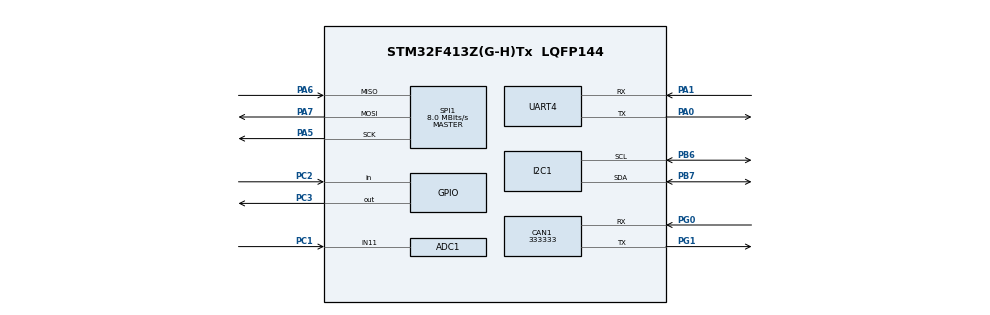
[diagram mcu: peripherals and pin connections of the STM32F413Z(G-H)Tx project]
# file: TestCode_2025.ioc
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ADC1.Channel-0\#ChannelRegularConversion=ADC_CHANNEL_11
ADC1.NbrOfConversionFlag=1
ADC1.Rank-0\#ChannelRegularConversion=1
ADC1.SamplingTime-0\#ChannelRegularConversion=ADC_SAMPLETIME_3CYCLES
ADC1.master=1
CAN1.CalculateBaudRate=333333
CAN1.CalculateTimeBit=3000.00
CAN1.CalculateTimeQuantum=1000.0
Mcu.Family=STM32F4
Mcu.Name=STM32F413Z(G-H)Tx
Mcu.Package=LQFP144
NVIC.PriorityGroup=NVIC_PRIORITYGROUP_4
PA0.Mode=Asynchronous
PA0.Signal=UART4_TX
PA1.Mode=Asynchronous
PA1.Signal=UART4_RX
PA5.Mode=Full_Duplex_Master
PA5.Signal=SPI1_SCK
PA6.Mode=Full_Duplex_Master
PA6.Signal=SPI1_MISO
PA7.Mode=Full_Duplex_Master
PA7.Signal=SPI1_MOSI
PB6.Mode=I2C
PB6.Signal=I2C1_SCL
PB7.Mode=I2C
PB7.Signal=I2C1_SDA
PC1.Signal=ADCx_IN11
PC2.Signal=GPIO_Input
PC3.Signal=GPIO_Output
PG0.Mode=CAN_Activate
PG0.Signal=CAN1_RX
PG1.Mode=CAN_Activate
PG1.Signal=CAN1_TX
ProjectManager.HeapSize=0x200
ProjectManager.StackSize=0x400
ProjectManager.TargetToolchain=EWARM V8.32
RCC.CortexFreq_Value=16000000
RCC.USBFreq_Value=96000000
RCC.VCOOutputFreq_Value=192000000
SH.ADCx_IN11.0=ADC1_IN11,IN11
SPI1.CalculateBaudRate=8.0 MBits/s
SPI1.Direction=SPI_DIRECTION_2LINES
SPI1.Mode=SPI_MODE_MASTER
SPI1.VirtualType=VM_MASTER
UART4.VirtualMode=Asynchronous
board=custom

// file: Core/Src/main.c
/* USER CODE BEGIN Header */
/**
  ******************************************************************************
  * @file           : main.c
  * @brief          : Main program body
  ******************************************************************************
  * @attention
  *
  * <h2><center>&copy; Copyright (c) 2025 STMicroelectronics.
  * All rights reserved.</center></h2>
  *
  * This software component is licensed by ST under BSD 3-Clause license,
  * the "License"; You may not use this file except in compliance with the
  * License. You may obtain a copy of the License at:
  *                        opensource.org/licenses/BSD-3-Clause
  *
  ******************************************************************************
  */
/* USER CODE END Header */
#include "main.h"

/* USER CODE BEGIN PM */
enum Pmic {
  MP5424 = 0,
  TI234,
  NXP5664
};

#define PMICTYPE MP5424

#if (PMICTYPE == MP5424)
    #define SLAVEADDR 0X69
#endif
/* USER CODE END PM */

ADC_HandleTypeDef hadc1;

CAN_HandleTypeDef hcan1;

I2C_HandleTypeDef hi2c1;

SPI_HandleTypeDef hspi1;

UART_HandleTypeDef huart4;

void SystemClock_Config(void);
static void MX_GPIO_Init(void);
static void MX_ADC1_Init(void);
static void MX_CAN1_Init(void);
static void MX_I2C1_Init(void);
static void MX_SPI1_Init(void);
static void MX_UART4_Init(void);

/* USER CODE BEGIN 0 */
uint8_t addr = SLAVEADDR;

/* USER CODE END 0 */

int main(void)
{
  /* USER CODE BEGIN 1 */
    memset(test1,0,sizeof(test1));
  /* USER CODE END 1 */

  /* MCU Configuration--------------------------------------------------------*/

  /* Reset of all peripherals, Initializes the Flash interface and the Systick. */
  HAL_Init();

  /* Configure the system clock */
  SystemClock_Config();

  /* Initialize all configured peripherals */
  MX_GPIO_Init();
  MX_ADC1_Init();
  MX_CAN1_Init();
  MX_I2C1_Init();
  MX_SPI1_Init();
  MX_UART4_Init();

  /* Infinite loop */
  /* USER CODE BEGIN WHILE */
  while (1)
  {
    uint8_t i2c_tx_data;
    uint8_t i2c_tx_addr;
    uint8_t i2c_rx_data;
    uint8_t i2c_rx_addr;

    test1.field.a = 1;
    i2c_tx_data = test1.Pmic_data;
    /* USER CODE END WHILE */
    HAL_I2C_Master_Transmit();
    delay_us(100);
    HAL_I2C_Master_Receive();
    delay_us(100);
  }
}

void SystemClock_Config(void)
{
  RCC_OscInitTypeDef RCC_OscInitStruct = {0};
  RCC_ClkInitTypeDef RCC_ClkInitStruct = {0};

  /** Configure the main internal regulator output voltage
  */
  __HAL_RCC_PWR_CLK_ENABLE();
  __HAL_PWR_VOLTAGESCALING_CONFIG(PWR_REGULATOR_VOLTAGE_SCALE1);
  /** Initializes the RCC Oscillators according to the specified parameters
  * in the RCC_OscInitTypeDef structure.
  */
  RCC_OscInitStruct.OscillatorType = RCC_OSCILLATORTYPE_HSI;
  RCC_OscInitStruct.HSIState = RCC_HSI_ON;
  RCC_OscInitStruct.HSICalibrationValue = RCC_HSICALIBRATION_DEFAULT;
  RCC_OscInitStruct.PLL.PLLState = RCC_PLL_NONE;
  if (HAL_RCC_OscConfig(&RCC_OscInitStruct) != HAL_OK)
  {
    Error_Handler();
  }
  /** Initializes the CPU, AHB and APB buses clocks
  */
  RCC_ClkInitStruct.ClockType = RCC_CLOCKTYPE_HCLK|RCC_CLOCKTYPE_SYSCLK
                              |RCC_CLOCKTYPE_PCLK1|RCC_CLOCKTYPE_PCLK2;
  RCC_ClkInitStruct.SYSCLKSource = RCC_SYSCLKSOURCE_HSI;
  RCC_ClkInitStruct.AHBCLKDivider = RCC_SYSCLK_DIV1;
  RCC_ClkInitStruct.APB1CLKDivider = RCC_HCLK_DIV1;
  RCC_ClkInitStruct.APB2CLKDivider = RCC_HCLK_DIV1;

  if (HAL_RCC_ClockConfig(&RCC_ClkInitStruct, FLASH_LATENCY_0) != HAL_OK)
  {
    Error_Handler();
  }
}

static void MX_ADC1_Init(void)
{

  ADC_ChannelConfTypeDef sConfig = {0};

  /** Configure the global features of the ADC (Clock, Resolution, Data Alignment and number of conversion)
  */
  hadc1.Instance = ADC1;
  hadc1.Init.ClockPrescaler = ADC_CLOCK_SYNC_PCLK_DIV2;
  hadc1.Init.Resolution = ADC_RESOLUTION_12B;
  hadc1.Init.ScanConvMode = DISABLE;
  hadc1.Init.ContinuousConvMode = DISABLE;
  hadc1.Init.DiscontinuousConvMode = DISABLE;
  hadc1.Init.ExternalTrigConvEdge = ADC_EXTERNALTRIGCONVEDGE_NONE;
  hadc1.Init.ExternalTrigConv = ADC_SOFTWARE_START;
  hadc1.Init.DataAlign = ADC_DATAALIGN_RIGHT;
  hadc1.Init.NbrOfConversion = 1;
  hadc1.Init.DMAContinuousRequests = DISABLE;
  hadc1.Init.EOCSelection = ADC_EOC_SINGLE_CONV;
  if (HAL_ADC_Init(&hadc1) != HAL_OK)
  {
    Error_Handler();
  }
  /** Configure for the selected ADC regular channel its corresponding rank in the sequencer and its sample time.
  */
  sConfig.Channel = ADC_CHANNEL_11;
  sConfig.Rank = 1;
  sConfig.SamplingTime = ADC_SAMPLETIME_3CYCLES;
  if (HAL_ADC_ConfigChannel(&hadc1, &sConfig) != HAL_OK)
  {
    Error_Handler();
  }

}

static void MX_CAN1_Init(void)
{

  hcan1.Instance = CAN1;
  hcan1.Init.Prescaler = 16;
  hcan1.Init.Mode = CAN_MODE_NORMAL;
  hcan1.Init.SyncJumpWidth = CAN_SJW_1TQ;
  hcan1.Init.TimeSeg1 = CAN_BS1_1TQ;
  hcan1.Init.TimeSeg2 = CAN_BS2_1TQ;
  hcan1.Init.TimeTriggeredMode = DISABLE;
  hcan1.Init.AutoBusOff = DISABLE;
  hcan1.Init.AutoWakeUp = DISABLE;
  hcan1.Init.AutoRetransmission = DISABLE;
  hcan1.Init.ReceiveFifoLocked = DISABLE;
  hcan1.Init.TransmitFifoPriority = DISABLE;
  if (HAL_CAN_Init(&hcan1) != HAL_OK)
  {
    Error_Handler();
  }

}

static void MX_I2C1_Init(void)
{

  hi2c1.Instance = I2C1;
  hi2c1.Init.ClockSpeed = 100000;
  hi2c1.Init.DutyCycle = I2C_DUTYCYCLE_2;
  hi2c1.Init.OwnAddress1 = 0;
  hi2c1.Init.AddressingMode = I2C_ADDRESSINGMODE_7BIT;
  hi2c1.Init.DualAddressMode = I2C_DUALADDRESS_DISABLE;
  hi2c1.Init.OwnAddress2 = 0;
  hi2c1.Init.GeneralCallMode = I2C_GENERALCALL_DISABLE;
  hi2c1.Init.NoStretchMode = I2C_NOSTRETCH_DISABLE;
  if (HAL_I2C_Init(&hi2c1) != HAL_OK)
  {
    Error_Handler();
  }

}

static void MX_SPI1_Init(void)
{

  /* SPI1 parameter configuration*/
  hspi1.Instance = SPI1;
  hspi1.Init.Mode = SPI_MODE_MASTER;
  hspi1.Init.Direction = SPI_DIRECTION_2LINES;
  hspi1.Init.DataSize = SPI_DATASIZE_8BIT;
  hspi1.Init.CLKPolarity = SPI_POLARITY_LOW;
  hspi1.Init.CLKPhase = SPI_PHASE_1EDGE;
  hspi1.Init.NSS = SPI_NSS_SOFT;
  hspi1.Init.BaudRatePrescaler = SPI_BAUDRATEPRESCALER_2;
  hspi1.Init.FirstBit = SPI_FIRSTBIT_MSB;
  hspi1.Init.TIMode = SPI_TIMODE_DISABLE;
  hspi1.Init.CRCCalculation = SPI_CRCCALCULATION_DISABLE;
  hspi1.Init.CRCPolynomial = 10;
  if (HAL_SPI_Init(&hspi1) != HAL_OK)
  {
    Error_Handler();
  }

}

static void MX_UART4_Init(void)
{

  huart4.Instance = UART4;
  huart4.Init.BaudRate = 115200;
  huart4.Init.WordLength = UART_WORDLENGTH_8B;
  huart4.Init.StopBits = UART_STOPBITS_1;
  huart4.Init.Parity = UART_PARITY_NONE;
  huart4.Init.Mode = UART_MODE_TX_RX;
  huart4.Init.HwFlowCtl = UART_HWCONTROL_NONE;
  huart4.Init.OverSampling = UART_OVERSAMPLING_16;
  if (HAL_UART_Init(&huart4) != HAL_OK)
  {
    Error_Handler();
  }

}

static void MX_GPIO_Init(void)
{
  GPIO_InitTypeDef GPIO_InitStruct = {0};

  /* GPIO Ports Clock Enable */
  __HAL_RCC_GPIOC_CLK_ENABLE();
  __HAL_RCC_GPIOA_CLK_ENABLE();
  __HAL_RCC_GPIOG_CLK_ENABLE();
  __HAL_RCC_GPIOB_CLK_ENABLE();

  /*Configure GPIO pin Output Level */
  HAL_GPIO_WritePin(GPIOC, GPIO_PIN_3, GPIO_PIN_RESET);

  /*Configure GPIO pin : PC2 */
  GPIO_InitStruct.Pin = GPIO_PIN_2;
  GPIO_InitStruct.Mode = GPIO_MODE_INPUT;
  GPIO_InitStruct.Pull = GPIO_NOPULL;
  HAL_GPIO_Init(GPIOC, &GPIO_InitStruct);

  /*Configure GPIO pin : PC3 */
  GPIO_InitStruct.Pin = GPIO_PIN_3;
  GPIO_InitStruct.Mode = GPIO_MODE_OUTPUT_PP;
  GPIO_InitStruct.Pull = GPIO_NOPULL;
  GPIO_InitStruct.Speed = GPIO_SPEED_FREQ_LOW;
  HAL_GPIO_Init(GPIOC, &GPIO_InitStruct);

}

void Error_Handler(void)
{
  __disable_irq();
  while (1)
  {
  }
}

/************************ (C) COPYRIGHT STMicroelectronics *****END OF FILE****/
